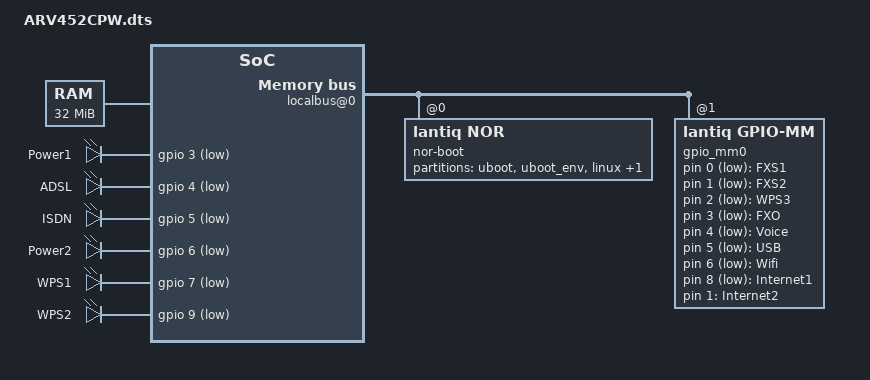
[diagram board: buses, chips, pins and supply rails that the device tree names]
/dts-v1/;

/include/ "danube.dtsi"

/ {
	chosen {
		bootargs = "console=ttyLTQ0,115200 init=/etc/preinit";
	};

	memory@0 {
		reg = <0x0 0x2000000>;
	};

	fpi@10000000 {
		#address-cells = <1>;
		#size-cells = <1>;
		localbus@0 {
			#address-cells = <2>;
			#size-cells = <1>;
			ranges = <0 0 0x0 0x3ffffff /* addrsel0 */ 
				1 0 0x4000000 0x4000010>; /* addsel1 */
			compatible = "lantiq,localbus", "simple-bus";

			nor-boot@0 {
				compatible = "lantiq,nor";
				bank-width = <2>;
				reg = <0 0x0 0x2000000>;
				#address-cells = <1>;
				#size-cells = <1>;

				partition@0 {
					label = "uboot";
					reg = <0x00000 0x10000>; /* 64 KB */
				};

				partition@10000 {
					label = "uboot_env";
					reg = <0x10000 0x10000>; /* 64 KB */
				};

				partition@20000 {
					label = "linux";
					reg = <0x20000 0x3d0000>;
				};

				partition@3f0000 {
					label = "boardconfig";
					reg = <0x3f0000 0x10000>; /* 256 KB */
				};
			};
	
			gpio_mm0: gpio@4000000 {
				compatible = "lantiq,gpio-mm";
				reg = <1 0x0 0x10>;
				gpio-controller;
				#gpio-cells = <2>;
				lantiq,shadow = <0x77f>
			};

		};

		gpio: pinmux@E100B10 {
			compatible = "lantiq,pinctrl-xway";
			pinctrl-names = "default";
			pinctrl-0 = <&state_default>;
			
			#gpio-cells = <2>;
			gpio-controller;
			reg = <0xE100B10 0xA0>;

			state_default: pinmux {
				exin {
					lantiq,groups = "exin1";
					lantiq,function = "exin";
				};
				pci {
					lantiq,groups = "gnt1";
					lantiq,function = "pci";
				};
			};
		};

		etop@E180000 {
			compatible = "lantiq,etop-xway1";
			reg = <0xE180000 0x40000>;
			interrupt-parent = <&icu0>;
			interrupts = <73 78>;
			phy-mode = "rmii";
			mac-address = [ 00 11 22 33 44 55 ];
		};

		pci@E105400 {
			lantiq,bus-clock = <33333333>;
			lantiq,external-clock;
			interrupt-map-mask = <0xf800 0x0 0x0 0x7>;
			interrupt-map = <
				0x7000 0 0 1 &icu0 135 1 /* slot 14, irq 135, exin1 */
			>;
			gpios-reset = <&gpio 21 0>;
			req-mask = <0x1>;		/* GNT1 */
		};

	};

	gpio-leds {
		compatible = "gpio-leds";
		power1 {
			label = "Power1";
			gpios = <&gpio 3 1>;
			default-state = "on"; /* gpio3 active-low */
		};
		adsl {
			label = "ADSL";
			gpios = <&gpio 4 1>;
			default-state = "on"; /* gpio4 active-low */
		};
		isdn {
			label = "ISDN";
			gpios = <&gpio 5 1>; /* gpio5 active-low */
			default-state = "on";
		};
		power2 {
			label = "Power2";
			gpios = <&gpio 6 1>; /* gpio6 active-low */
			default-state = "on";
		};
		wps1 {
			label = "WPS1";
			gpios = <&gpio 7 1>; /* gpio7 active-low */
			default-state = "on";
		};
		wps2 {
			label = "WPS2";
			gpios = <&gpio 9 1>; /* gpio9 active-low */
			default-state = "on";
		};
		fxs1 {
			label = "FXS1";
			gpios = <&gpio_mm0 0 1>;
			default-state = "on";
		};
		fxs2 {
			label = "FXS2";
			gpios = <&gpio_mm0 1 1>;
			default-state = "on";
		};
		wps3 {
			label = "WPS3";
			gpios = <&gpio_mm0 2 1>;
			default-state = "on";
		};
		fxo {
			label = "FXO";
			gpios = <&gpio_mm0 3 1>;
			default-state = "on";
		};
		voice {
			label = "Voice";
			gpios = <&gpio_mm0 4 1>;
			default-state = "on";
		};
		usb {
			label = "USB";
			gpios = <&gpio_mm0 5 1>;
			default-state = "on";
		};
		wifi {
			label = "Wifi";
			gpios = <&gpio_mm0 6 1>;
			default-state = "on";
		};
		inet1 {
			label = "Internet1";
			gpios = <&gpio_mm0 8 1>;
			default-state = "on";
		};
		inet2 {
			label = "Internet2";
			gpios = <&gpio_mm0  1>;
			default-state = "on";
		};
	};
};
